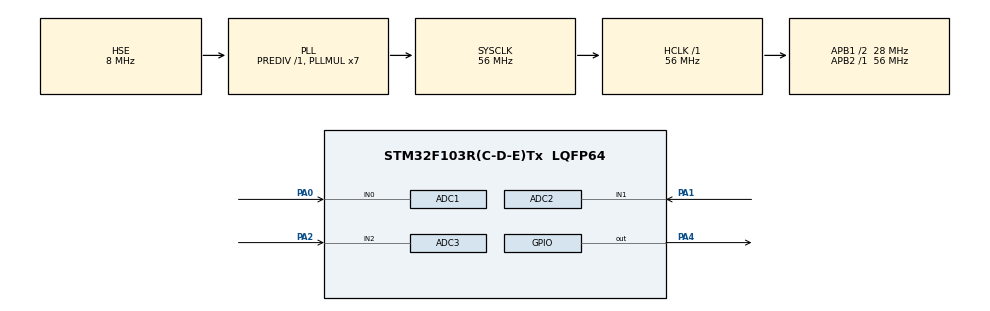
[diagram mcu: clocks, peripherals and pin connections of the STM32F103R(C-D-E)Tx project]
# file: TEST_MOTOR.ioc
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ADC1.Channel-1\#ChannelRegularConversion=ADC_CHANNEL_0
ADC1.ContinuousConvMode=ENABLE
ADC1.DataAlign=ADC_DATAALIGN_RIGHT
ADC1.EnableRegularConversion=ENABLE
ADC1.NbrOfConversionFlag=1
ADC1.Rank-1\#ChannelRegularConversion=1
ADC1.SamplingTime-1\#ChannelRegularConversion=ADC_SAMPLETIME_1CYCLE_5
ADC1.master=1
ADC2.Channel-3\#ChannelRegularConversion=ADC_CHANNEL_1
ADC2.ContinuousConvMode=ENABLE
ADC2.NbrOfConversionFlag=1
ADC2.Rank-3\#ChannelRegularConversion=1
ADC2.SamplingTime-3\#ChannelRegularConversion=ADC_SAMPLETIME_1CYCLE_5
ADC3.Channel-2\#ChannelRegularConversion=ADC_CHANNEL_2
ADC3.ContinuousConvMode=ENABLE
ADC3.NbrOfConversion=1
ADC3.NbrOfConversionFlag=1
ADC3.Rank-2\#ChannelRegularConversion=1
ADC3.SamplingTime-2\#ChannelRegularConversion=ADC_SAMPLETIME_1CYCLE_5
Mcu.Family=STM32F1
Mcu.Name=STM32F103R(C-D-E)Tx
Mcu.Package=LQFP64
NVIC.ADC1_2_IRQn=true\:1\:0\:true\:false\:true\:true\:true\:true
NVIC.ADC3_IRQn=true\:1\:0\:true\:false\:true\:true\:true\:true
NVIC.PriorityGroup=NVIC_PRIORITYGROUP_4
NVIC.TIM2_IRQn=true\:0\:0\:false\:false\:true\:true\:true\:true
PA0-WKUP.Signal=ADCx_IN0
PA1.Signal=ADCx_IN1
PA13.Mode=Serial_Wire
PA13.Signal=SYS_JTMS-SWDIO
PA14.Mode=Serial_Wire
PA14.Signal=SYS_JTCK-SWCLK
PA2.Signal=ADCx_IN2
PA4.Signal=GPIO_Output
PD0-OSC_IN.Mode=HSE-External-Oscillator
PD0-OSC_IN.Signal=RCC_OSC_IN
PD1-OSC_OUT.Mode=HSE-External-Oscillator
PD1-OSC_OUT.Signal=RCC_OSC_OUT
ProjectManager.HeapSize=0x200
ProjectManager.StackSize=0x400
ProjectManager.TargetToolchain=MDK-ARM V5.32
RCC.ADCPresc=RCC_ADCPCLK2_DIV4
RCC.AHBFreq_Value=56000000
RCC.APB1CLKDivider=RCC_HCLK_DIV2
RCC.APB1Freq_Value=28000000
RCC.APB1TimFreq_Value=56000000
RCC.APB2Freq_Value=56000000
RCC.APB2TimFreq_Value=56000000
RCC.HCLKFreq_Value=56000000
RCC.PLLMUL=RCC_PLL_MUL7
RCC.PLLSourceVirtual=RCC_PLLSOURCE_HSE
RCC.SYSCLKFreq_VALUE=56000000
RCC.SYSCLKSource=RCC_SYSCLKSOURCE_PLLCLK
RCC.USBFreq_Value=56000000
SH.ADCx_IN0.0=ADC1_IN0,IN0
SH.ADCx_IN1.0=ADC2_IN1,IN1
SH.ADCx_IN2.0=ADC3_IN2,IN2
TIM2.Period=99
TIM2.Prescaler=55
VP_TIM2_VS_ClockSourceINT.Mode=Internal
board=custom

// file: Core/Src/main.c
/* USER CODE BEGIN Header */
/**
  ******************************************************************************
  * @file           : main.c
  * @brief          : Main program body
  ******************************************************************************
  * @attention
  *
  * Copyright (c) 2024 STMicroelectronics.
  * All rights reserved.
  *
  * This software is licensed under terms that can be found in the LICENSE file
  * in the root directory of this software component.
  * If no LICENSE file comes with this software, it is provided AS-IS.
  *
  ******************************************************************************
  */
/* USER CODE END Header */
#include "main.h"
#include <math.h>

#define ANGLE 0.2923

ADC_HandleTypeDef hadc1;
ADC_HandleTypeDef hadc2;
ADC_HandleTypeDef hadc3;

TIM_HandleTypeDef htim2;

void SystemClock_Config(void);
static void MX_GPIO_Init(void);
static void MX_ADC1_Init(void);
static void MX_ADC2_Init(void);
static void MX_ADC3_Init(void);
static void MX_TIM2_Init(void);

/* USER CODE BEGIN 0 */
volatile float a, b, c;
float xa, xb, xc;
float ia, ib, ic;
uint32_t time, diff;
float ia, ib;
volatile uint8_t flag_a = 0, flag_b = 0, flag_c = 0;
uint8_t flag = 0;
float gamma, phi;
float compared_angle;
uint16_t t_timer = 0;

void HAL_ADC_ConvCpltCallback(ADC_HandleTypeDef* hadc)
{
	if(flag == 0)
	{
		if(hadc->Instance == ADC1)
		{
			if(flag_a == 0)
			{
				a = HAL_ADC_GetValue(&hadc1);
				flag_a = 1;
			}
			__HAL_ADC_DISABLE_IT(&hadc1, ADC_IT_EOC);
//			__HAL_ADC_ENABLE_IT(&hadc2, ADC_IT_EOC);
//			__HAL_ADC_ENABLE_IT(&hadc3, ADC_IT_EOC);
		}
		if(hadc->Instance == ADC2)
		{
			if(flag_b == 0)
			{
				b = HAL_ADC_GetValue(&hadc2);
				flag_b = 1;
			}
			__HAL_ADC_DISABLE_IT(&hadc2, ADC_IT_EOC);
//			__HAL_ADC_ENABLE_IT(&hadc1, ADC_IT_EOC);
//			__HAL_ADC_ENABLE_IT(&hadc3, ADC_IT_EOC);
		}
		if(hadc->Instance == ADC3)
		{
			if(flag_c == 0)
			{
				c = HAL_ADC_GetValue(&hadc3);
				flag_c = 1;
			}
			//__HAL_ADC_DISABLE_IT(&hadc3, ADC_IT_EOC);
			//__HAL_ADC_ENABLE_IT(&hadc2, ADC_IT_EOC);
			//__HAL_ADC_ENABLE_IT(&hadc1, ADC_IT_EOC);
		}
		if(flag_a == 1 && flag_b == 1 && flag_c == 1)
		{
			flag = 1;
			__HAL_ADC_DISABLE_IT(&hadc1, ADC_IT_EOC);
			__HAL_ADC_DISABLE_IT(&hadc2, ADC_IT_EOC);
			__HAL_ADC_DISABLE_IT(&hadc3, ADC_IT_EOC);
		}
	}
}

void HAL_TIM_PeriodElapsedCallback(TIM_HandleTypeDef *htim)
{
	if(htim->Instance == TIM2)
	{
		t_timer++;
//		if(t_timer == 10)
//		{
//			HAL_GPIO_WritePin(GPIOA, GPIO_PIN_4, GPIO_PIN_SET);
//			t_timer = 0;
//		}
//		if(t_timer == 2)
//		{
//			HAL_GPIO_WritePin(GPIOA, GPIO_PIN_4, GPIO_PIN_RESET);
//		}
	}
}
/* USER CODE END 0 */

int main(void)
{

  /* MCU Configuration--------------------------------------------------------*/

  /* Reset of all peripherals, Initializes the Flash interface and the Systick. */
  HAL_Init();

  /* Configure the system clock */
  SystemClock_Config();

  /* Initialize all configured peripherals */
  MX_GPIO_Init();
  MX_ADC1_Init();
  MX_ADC2_Init();
  MX_ADC3_Init();
  MX_TIM2_Init();
  /* USER CODE BEGIN 2 */
	HAL_GPIO_WritePin(GPIOA, GPIO_PIN_4, GPIO_PIN_RESET);
	HAL_TIM_Base_Start_IT(&htim2);
	//SysTick->LOAD = (uint32_t)0x00FFFFFF;
	hadc1.Instance->CR2 |= 0x00000004;
	hadc2.Instance->CR2 |= 0x00000004;
	hadc3.Instance->CR2 |= 0x00000004;
	time = SysTick->VAL & (uint32_t)0x00FFFFFF;
	HAL_ADC_Start_IT(&hadc1);
	HAL_ADC_Start_IT(&hadc2);
	HAL_ADC_Start_IT(&hadc3);
  /* USER CODE END 2 */

  /* Infinite loop */
  while (1)
  {

    /* USER CODE BEGIN 3 */
		if(flag == 1)
		{
			xa = (a/4096) *3.3;
			xb = (b/4096) *3.3;
			xc = (c/4096) *3.3;
			ia = xa - xb/2 -xc/2;
			ib = sqrt(3)/2 * (xb - xc);
			compared_angle = ib /(sqrt(pow(ib,2) + pow(ia,2)));
			if(ia < 0 && compared_angle >= (float)ANGLE)
			{

			}
			else
			{
				diff = (SysTick->VAL & (uint32_t)0x00FFFFFF) - time;
				//time = SysTick->VAL & (uint32_t)0x00FFFFFF;
				flag = 0;
				flag_a = 0;
				flag_b = 0;
				flag_c = 0;
				__HAL_ADC_ENABLE_IT(&hadc1, ADC_IT_EOC);
				__HAL_ADC_ENABLE_IT(&hadc2, ADC_IT_EOC);
				__HAL_ADC_ENABLE_IT(&hadc3, ADC_IT_EOC);
			}
		}
  }
  /* USER CODE END 3 */
}

void SystemClock_Config(void)
{
  RCC_OscInitTypeDef RCC_OscInitStruct = {0};
  RCC_ClkInitTypeDef RCC_ClkInitStruct = {0};
  RCC_PeriphCLKInitTypeDef PeriphClkInit = {0};

  /** Initializes the RCC Oscillators according to the specified parameters
  * in the RCC_OscInitTypeDef structure.
  */
  RCC_OscInitStruct.OscillatorType = RCC_OSCILLATORTYPE_HSE;
  RCC_OscInitStruct.HSEState = RCC_HSE_ON;
  RCC_OscInitStruct.HSEPredivValue = RCC_HSE_PREDIV_DIV1;
  RCC_OscInitStruct.HSIState = RCC_HSI_ON;
  RCC_OscInitStruct.PLL.PLLState = RCC_PLL_ON;
  RCC_OscInitStruct.PLL.PLLSource = RCC_PLLSOURCE_HSE;
  RCC_OscInitStruct.PLL.PLLMUL = RCC_PLL_MUL7;
  if (HAL_RCC_OscConfig(&RCC_OscInitStruct) != HAL_OK)
  {
    Error_Handler();
  }

  /** Initializes the CPU, AHB and APB buses clocks
  */
  RCC_ClkInitStruct.ClockType = RCC_CLOCKTYPE_HCLK|RCC_CLOCKTYPE_SYSCLK
                              |RCC_CLOCKTYPE_PCLK1|RCC_CLOCKTYPE_PCLK2;
  RCC_ClkInitStruct.SYSCLKSource = RCC_SYSCLKSOURCE_PLLCLK;
  RCC_ClkInitStruct.AHBCLKDivider = RCC_SYSCLK_DIV1;
  RCC_ClkInitStruct.APB1CLKDivider = RCC_HCLK_DIV2;
  RCC_ClkInitStruct.APB2CLKDivider = RCC_HCLK_DIV1;

  if (HAL_RCC_ClockConfig(&RCC_ClkInitStruct, FLASH_LATENCY_2) != HAL_OK)
  {
    Error_Handler();
  }
  PeriphClkInit.PeriphClockSelection = RCC_PERIPHCLK_ADC;
  PeriphClkInit.AdcClockSelection = RCC_ADCPCLK2_DIV4;
  if (HAL_RCCEx_PeriphCLKConfig(&PeriphClkInit) != HAL_OK)
  {
    Error_Handler();
  }
}

static void MX_ADC1_Init(void)
{

  ADC_ChannelConfTypeDef sConfig = {0};

  /** Common config
  */
  hadc1.Instance = ADC1;
  hadc1.Init.ScanConvMode = ADC_SCAN_DISABLE;
  hadc1.Init.ContinuousConvMode = ENABLE;
  hadc1.Init.DiscontinuousConvMode = DISABLE;
  hadc1.Init.ExternalTrigConv = ADC_SOFTWARE_START;
  hadc1.Init.DataAlign = ADC_DATAALIGN_RIGHT;
  hadc1.Init.NbrOfConversion = 1;
  if (HAL_ADC_Init(&hadc1) != HAL_OK)
  {
    Error_Handler();
  }

  /** Configure Regular Channel
  */
  sConfig.Channel = ADC_CHANNEL_0;
  sConfig.Rank = ADC_REGULAR_RANK_1;
  sConfig.SamplingTime = ADC_SAMPLETIME_1CYCLE_5;
  if (HAL_ADC_ConfigChannel(&hadc1, &sConfig) != HAL_OK)
  {
    Error_Handler();
  }

}

static void MX_ADC2_Init(void)
{

  ADC_ChannelConfTypeDef sConfig = {0};

  /** Common config
  */
  hadc2.Instance = ADC2;
  hadc2.Init.ScanConvMode = ADC_SCAN_DISABLE;
  hadc2.Init.ContinuousConvMode = ENABLE;
  hadc2.Init.DiscontinuousConvMode = DISABLE;
  hadc2.Init.ExternalTrigConv = ADC_SOFTWARE_START;
  hadc2.Init.DataAlign = ADC_DATAALIGN_RIGHT;
  hadc2.Init.NbrOfConversion = 1;
  if (HAL_ADC_Init(&hadc2) != HAL_OK)
  {
    Error_Handler();
  }

  /** Configure Regular Channel
  */
  sConfig.Channel = ADC_CHANNEL_1;
  sConfig.Rank = ADC_REGULAR_RANK_1;
  sConfig.SamplingTime = ADC_SAMPLETIME_1CYCLE_5;
  if (HAL_ADC_ConfigChannel(&hadc2, &sConfig) != HAL_OK)
  {
    Error_Handler();
  }

}

static void MX_ADC3_Init(void)
{

  ADC_ChannelConfTypeDef sConfig = {0};

  /** Common config
  */
  hadc3.Instance = ADC3;
  hadc3.Init.ScanConvMode = ADC_SCAN_DISABLE;
  hadc3.Init.ContinuousConvMode = ENABLE;
  hadc3.Init.DiscontinuousConvMode = DISABLE;
  hadc3.Init.ExternalTrigConv = ADC_SOFTWARE_START;
  hadc3.Init.DataAlign = ADC_DATAALIGN_RIGHT;
  hadc3.Init.NbrOfConversion = 1;
  if (HAL_ADC_Init(&hadc3) != HAL_OK)
  {
    Error_Handler();
  }

  /** Configure Regular Channel
  */
  sConfig.Channel = ADC_CHANNEL_2;
  sConfig.Rank = ADC_REGULAR_RANK_1;
  sConfig.SamplingTime = ADC_SAMPLETIME_1CYCLE_5;
  if (HAL_ADC_ConfigChannel(&hadc3, &sConfig) != HAL_OK)
  {
    Error_Handler();
  }

}

static void MX_TIM2_Init(void)
{

  TIM_ClockConfigTypeDef sClockSourceConfig = {0};
  TIM_MasterConfigTypeDef sMasterConfig = {0};

  htim2.Instance = TIM2;
  htim2.Init.Prescaler = 55;
  htim2.Init.CounterMode = TIM_COUNTERMODE_UP;
  htim2.Init.Period = 9;
  htim2.Init.ClockDivision = TIM_CLOCKDIVISION_DIV1;
  htim2.Init.AutoReloadPreload = TIM_AUTORELOAD_PRELOAD_DISABLE;
  if (HAL_TIM_Base_Init(&htim2) != HAL_OK)
  {
    Error_Handler();
  }
  sClockSourceConfig.ClockSource = TIM_CLOCKSOURCE_INTERNAL;
  if (HAL_TIM_ConfigClockSource(&htim2, &sClockSourceConfig) != HAL_OK)
  {
    Error_Handler();
  }
  sMasterConfig.MasterOutputTrigger = TIM_TRGO_RESET;
  sMasterConfig.MasterSlaveMode = TIM_MASTERSLAVEMODE_DISABLE;
  if (HAL_TIMEx_MasterConfigSynchronization(&htim2, &sMasterConfig) != HAL_OK)
  {
    Error_Handler();
  }

}

static void MX_GPIO_Init(void)
{
  GPIO_InitTypeDef GPIO_InitStruct = {0};

  /* GPIO Ports Clock Enable */
  __HAL_RCC_GPIOD_CLK_ENABLE();
  __HAL_RCC_GPIOA_CLK_ENABLE();

  /*Configure GPIO pin Output Level */
  HAL_GPIO_WritePin(GPIOA, GPIO_PIN_4, GPIO_PIN_RESET);

  /*Configure GPIO pin : PA4 */
  GPIO_InitStruct.Pin = GPIO_PIN_4;
  GPIO_InitStruct.Mode = GPIO_MODE_OUTPUT_PP;
  GPIO_InitStruct.Pull = GPIO_NOPULL;
  GPIO_InitStruct.Speed = GPIO_SPEED_FREQ_LOW;
  HAL_GPIO_Init(GPIOA, &GPIO_InitStruct);

}

void Error_Handler(void)
{
  __disable_irq();
  while (1)
  {
  }
}
